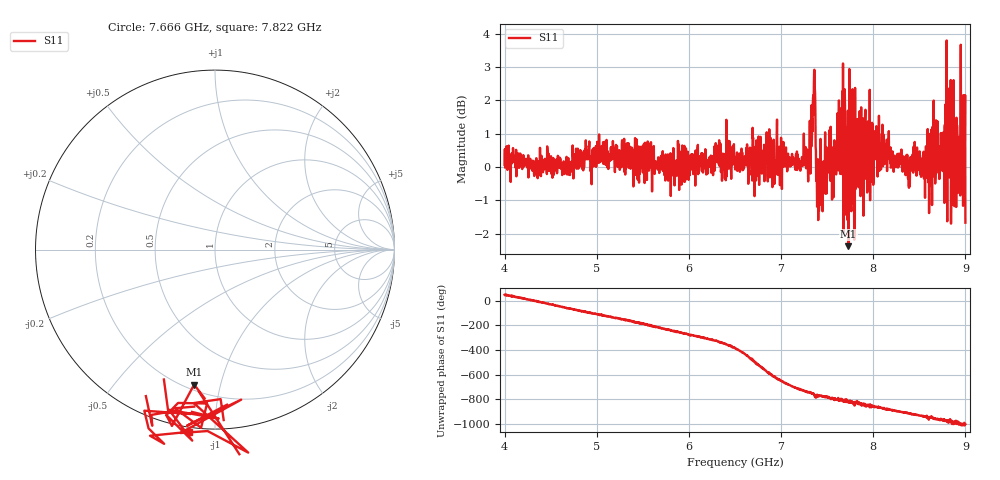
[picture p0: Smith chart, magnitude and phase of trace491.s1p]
! Created with skrf 1.8.0 (http://scikit-rf.org).
# Hz S RI R 50.0
!freq ReS11 ImS11
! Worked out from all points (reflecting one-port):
!   1601 points, 4 GHz to 9 GHz, reference 50 ohm
!   lowest |S11| = -2.4 dB at 7.731 GHz (marker M1), VSWR 7.36, Z = 11.6 - j41.5 ohm
!   phase of S11 starts at 49 deg and turns -1048 deg over the sweep
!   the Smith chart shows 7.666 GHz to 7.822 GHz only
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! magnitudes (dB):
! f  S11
! 4 GHz  0.1
! 4.625 GHz  -0.2
! 4.897 GHz  0.2
! 5.25 GHz  -0.1
! 5.875 GHz  0.1
! 6.5 GHz  0.1
! 7.125 GHz  0.2
! 7.294 GHz  -0.4
! 7.347 GHz  2.1
! 7.369 GHz  2.2
! 7.4 GHz  0.2
! 7.409 GHz  -1.3
! 7.522 GHz  0.1
! 7.578 GHz  0.8
! 7.669 GHz  0.8
! 7.722 GHz  -0.4
! 7.731 GHz  -2.4
! 7.75 GHz  -0.6
! 7.769 GHz  -0.8
! 7.828 GHz  0.4
! 7.956 GHz  -0.6
! 8.038 GHz  0.7
! 8.375 GHz  -0.2
! 8.806 GHz  0.5
! 8.816 GHz  0.0
! 8.869 GHz  -0.2
! 8.972 GHz  0.6
! 9 GHz  -1.7
